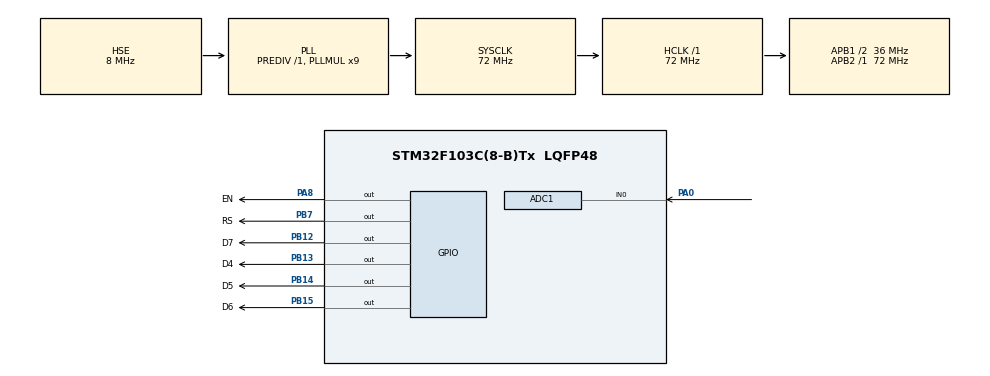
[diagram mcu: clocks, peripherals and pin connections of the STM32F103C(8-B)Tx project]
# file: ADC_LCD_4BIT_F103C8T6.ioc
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ADC1.Channel-0\#ChannelRegularConversion=ADC_CHANNEL_0
ADC1.NbrOfConversionFlag=1
ADC1.Rank-0\#ChannelRegularConversion=1
ADC1.SamplingTime-0\#ChannelRegularConversion=ADC_SAMPLETIME_1CYCLE_5
ADC1.master=1
Mcu.Family=STM32F1
Mcu.Name=STM32F103C(8-B)Tx
Mcu.Package=LQFP48
NVIC.PriorityGroup=NVIC_PRIORITYGROUP_4
PA0-WKUP.Signal=ADCx_IN0
PA13.Mode=Serial_Wire
PA13.Signal=SYS_JTMS-SWDIO
PA14.Mode=Serial_Wire
PA14.Signal=SYS_JTCK-SWCLK
PA8.GPIO_Label=EN
PA8.Signal=GPIO_Output
PB12.GPIO_Label=D7
PB12.Signal=GPIO_Output
PB13.GPIO_Label=D4
PB13.Signal=GPIO_Output
PB14.GPIO_Label=D5
PB14.Signal=GPIO_Output
PB15.GPIO_Label=D6
PB15.Signal=GPIO_Output
PB7.GPIO_Label=RS
PB7.Signal=GPIO_Output
PD0-OSC_IN.Mode=HSE-External-Oscillator
PD0-OSC_IN.Signal=RCC_OSC_IN
PD1-OSC_OUT.Mode=HSE-External-Oscillator
PD1-OSC_OUT.Signal=RCC_OSC_OUT
ProjectManager.HeapSize=0x200
ProjectManager.StackSize=0x400
ProjectManager.TargetToolchain=STM32CubeIDE
RCC.ADCPresc=RCC_ADCPCLK2_DIV6
RCC.AHBFreq_Value=72000000
RCC.APB1CLKDivider=RCC_HCLK_DIV2
RCC.APB1Freq_Value=36000000
RCC.APB1TimFreq_Value=72000000
RCC.APB2Freq_Value=72000000
RCC.APB2TimFreq_Value=72000000
RCC.HCLKFreq_Value=72000000
RCC.PLLMUL=RCC_PLL_MUL9
RCC.PLLSourceVirtual=RCC_PLLSOURCE_HSE
RCC.SYSCLKFreq_VALUE=72000000
RCC.SYSCLKSource=RCC_SYSCLKSOURCE_PLLCLK
RCC.USBFreq_Value=72000000
SH.ADCx_IN0.0=ADC1_IN0,IN0
TIM1.Prescaler=72-1
VP_TIM1_VS_ClockSourceINT.Mode=Internal
board=custom

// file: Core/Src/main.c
/* USER CODE BEGIN Header */
/**
  ******************************************************************************
  * @file           : main.c
  * @brief          : Main program body
  ******************************************************************************
  * @attention
  *
  * Copyright (c) 2026 STMicroelectronics.
  * All rights reserved.
  *
  * This software is licensed under terms that can be found in the LICENSE file
  * in the root directory of this software component.
  * If no LICENSE file comes with this software, it is provided AS-IS.
  *
  ******************************************************************************
  */
/* USER CODE END Header */
#include "main.h"

/* USER CODE BEGIN Includes */

#include "stdio.h"

/* USER CODE END Includes */

ADC_HandleTypeDef hadc1;

TIM_HandleTypeDef htim1;

/* USER CODE BEGIN PV */

#define timer htim1
uint16_t adc_value=0;
char arr1[10];
int i=0;

/* USER CODE END PV */

void SystemClock_Config(void);
static void MX_GPIO_Init(void);
static void MX_ADC1_Init(void);
static void MX_TIM1_Init(void);
/* USER CODE BEGIN PFP */

void lcd_init (void);   // initialize lcd
void lcd_send_cmd (char cmd);  // send command to the lcd
void lcd_send_data (char data);  // send data to the lcd
void lcd_send_string (char *str);  // send string to the lcd
void lcd_put_cur(int row, int col);  // put cursor at the entered position row (0 or 1), col (0-15);
void lcd_clear (void);

/* USER CODE END PFP */

int main(void)
{

  /* MCU Configuration--------------------------------------------------------*/

  /* Reset of all peripherals, Initializes the Flash interface and the Systick. */
  HAL_Init();

  /* Configure the system clock */
  SystemClock_Config();

  /* Initialize all configured peripherals */
  MX_GPIO_Init();
  MX_ADC1_Init();
  MX_TIM1_Init();
  /* USER CODE BEGIN 2 */

  HAL_TIM_Base_Start(&htim1);
  lcd_init ();
  lcd_clear();

  /* USER CODE END 2 */

  /* Infinite loop */
  /* USER CODE BEGIN WHILE */
  while (1)
  {
//	  lcd_put_cur(0, 0);
//	  lcd_send_string("suhas");
	  	     HAL_ADC_Start(&hadc1);

	  		  if(HAL_ADC_PollForConversion(&hadc1, HAL_MAX_DELAY)==HAL_OK)
	  		  {
	  			  adc_value = HAL_ADC_GetValue(&hadc1);
	  			  /*sprintf(adcbuffer8,"adc_value = %lu",adc_value);
	  			  HAL_UART_Transmit(&huart2, (uint8_t *)adcbuffer8, strlen(adcbuffer8) , HAL_MAX_DELAY);
	  			  HAL_UART_Transmit(&huart2, (uint8_t *)newline, strlen(newline) , HAL_MAX_DELAY);*/
	  		  }

	  		  HAL_ADC_Stop(&hadc1);

	  		  sprintf(arr1,"%04d",adc_value);
	  		  lcd_put_cur(0,0);
	  		  lcd_send_string("Adc_value--");
	  		  lcd_put_cur(1,0);
	  		  lcd_send_string(arr1);

    /* USER CODE END WHILE */

  }
}

void SystemClock_Config(void)
{
  RCC_OscInitTypeDef RCC_OscInitStruct = {0};
  RCC_ClkInitTypeDef RCC_ClkInitStruct = {0};
  RCC_PeriphCLKInitTypeDef PeriphClkInit = {0};

  /** Initializes the RCC Oscillators according to the specified parameters
  * in the RCC_OscInitTypeDef structure.
  */
  RCC_OscInitStruct.OscillatorType = RCC_OSCILLATORTYPE_HSE;
  RCC_OscInitStruct.HSEState = RCC_HSE_ON;
  RCC_OscInitStruct.HSEPredivValue = RCC_HSE_PREDIV_DIV1;
  RCC_OscInitStruct.HSIState = RCC_HSI_ON;
  RCC_OscInitStruct.PLL.PLLState = RCC_PLL_ON;
  RCC_OscInitStruct.PLL.PLLSource = RCC_PLLSOURCE_HSE;
  RCC_OscInitStruct.PLL.PLLMUL = RCC_PLL_MUL9;
  if (HAL_RCC_OscConfig(&RCC_OscInitStruct) != HAL_OK)
  {
    Error_Handler();
  }

  /** Initializes the CPU, AHB and APB buses clocks
  */
  RCC_ClkInitStruct.ClockType = RCC_CLOCKTYPE_HCLK|RCC_CLOCKTYPE_SYSCLK
                              |RCC_CLOCKTYPE_PCLK1|RCC_CLOCKTYPE_PCLK2;
  RCC_ClkInitStruct.SYSCLKSource = RCC_SYSCLKSOURCE_PLLCLK;
  RCC_ClkInitStruct.AHBCLKDivider = RCC_SYSCLK_DIV1;
  RCC_ClkInitStruct.APB1CLKDivider = RCC_HCLK_DIV2;
  RCC_ClkInitStruct.APB2CLKDivider = RCC_HCLK_DIV1;

  if (HAL_RCC_ClockConfig(&RCC_ClkInitStruct, FLASH_LATENCY_2) != HAL_OK)
  {
    Error_Handler();
  }
  PeriphClkInit.PeriphClockSelection = RCC_PERIPHCLK_ADC;
  PeriphClkInit.AdcClockSelection = RCC_ADCPCLK2_DIV6;
  if (HAL_RCCEx_PeriphCLKConfig(&PeriphClkInit) != HAL_OK)
  {
    Error_Handler();
  }
}

static void MX_ADC1_Init(void)
{

  ADC_ChannelConfTypeDef sConfig = {0};

  /** Common config
  */
  hadc1.Instance = ADC1;
  hadc1.Init.ScanConvMode = ADC_SCAN_DISABLE;
  hadc1.Init.ContinuousConvMode = DISABLE;
  hadc1.Init.DiscontinuousConvMode = DISABLE;
  hadc1.Init.ExternalTrigConv = ADC_SOFTWARE_START;
  hadc1.Init.DataAlign = ADC_DATAALIGN_RIGHT;
  hadc1.Init.NbrOfConversion = 1;
  if (HAL_ADC_Init(&hadc1) != HAL_OK)
  {
    Error_Handler();
  }

  /** Configure Regular Channel
  */
  sConfig.Channel = ADC_CHANNEL_0;
  sConfig.Rank = ADC_REGULAR_RANK_1;
  sConfig.SamplingTime = ADC_SAMPLETIME_1CYCLE_5;
  if (HAL_ADC_ConfigChannel(&hadc1, &sConfig) != HAL_OK)
  {
    Error_Handler();
  }

}

static void MX_TIM1_Init(void)
{

  TIM_ClockConfigTypeDef sClockSourceConfig = {0};
  TIM_MasterConfigTypeDef sMasterConfig = {0};

  htim1.Instance = TIM1;
  htim1.Init.Prescaler = 72-1;
  htim1.Init.CounterMode = TIM_COUNTERMODE_UP;
  htim1.Init.Period = 65535;
  htim1.Init.ClockDivision = TIM_CLOCKDIVISION_DIV1;
  htim1.Init.RepetitionCounter = 0;
  htim1.Init.AutoReloadPreload = TIM_AUTORELOAD_PRELOAD_DISABLE;
  if (HAL_TIM_Base_Init(&htim1) != HAL_OK)
  {
    Error_Handler();
  }
  sClockSourceConfig.ClockSource = TIM_CLOCKSOURCE_INTERNAL;
  if (HAL_TIM_ConfigClockSource(&htim1, &sClockSourceConfig) != HAL_OK)
  {
    Error_Handler();
  }
  sMasterConfig.MasterOutputTrigger = TIM_TRGO_RESET;
  sMasterConfig.MasterSlaveMode = TIM_MASTERSLAVEMODE_DISABLE;
  if (HAL_TIMEx_MasterConfigSynchronization(&htim1, &sMasterConfig) != HAL_OK)
  {
    Error_Handler();
  }

}

static void MX_GPIO_Init(void)
{
  GPIO_InitTypeDef GPIO_InitStruct = {0};

  /* GPIO Ports Clock Enable */
  __HAL_RCC_GPIOD_CLK_ENABLE();
  __HAL_RCC_GPIOA_CLK_ENABLE();
  __HAL_RCC_GPIOB_CLK_ENABLE();

  /*Configure GPIO pin Output Level */
  HAL_GPIO_WritePin(GPIOB, D7_Pin|D4_Pin|D5_Pin|D6_Pin
                          |RS_Pin, GPIO_PIN_RESET);

  /*Configure GPIO pin Output Level */
  HAL_GPIO_WritePin(EN_GPIO_Port, EN_Pin, GPIO_PIN_RESET);

  /*Configure GPIO pins : D7_Pin D4_Pin D5_Pin D6_Pin
                           RS_Pin */
  GPIO_InitStruct.Pin = D7_Pin|D4_Pin|D5_Pin|D6_Pin
                          |RS_Pin;
  GPIO_InitStruct.Mode = GPIO_MODE_OUTPUT_PP;
  GPIO_InitStruct.Pull = GPIO_NOPULL;
  GPIO_InitStruct.Speed = GPIO_SPEED_FREQ_LOW;
  HAL_GPIO_Init(GPIOB, &GPIO_InitStruct);

  /*Configure GPIO pin : EN_Pin */
  GPIO_InitStruct.Pin = EN_Pin;
  GPIO_InitStruct.Mode = GPIO_MODE_OUTPUT_PP;
  GPIO_InitStruct.Pull = GPIO_NOPULL;
  GPIO_InitStruct.Speed = GPIO_SPEED_FREQ_LOW;
  HAL_GPIO_Init(EN_GPIO_Port, &GPIO_InitStruct);

}

/* USER CODE BEGIN 4 */

void delay (uint16_t us)
{
	__HAL_TIM_SET_COUNTER(&timer, 0);
	while (__HAL_TIM_GET_COUNTER(&timer) < us);
}

void send_to_lcd (char data, int rs)
{
	HAL_GPIO_WritePin(RS_GPIO_Port, RS_Pin, rs);  // rs = 1 for data, rs=0 for command

	/* write the data to the respective pin */
	HAL_GPIO_WritePin(D7_GPIO_Port, D7_Pin, ((data>>3)&0x01));
	HAL_GPIO_WritePin(D6_GPIO_Port, D6_Pin, ((data>>2)&0x01));
	HAL_GPIO_WritePin(D5_GPIO_Port, D5_Pin, ((data>>1)&0x01));
	HAL_GPIO_WritePin(D4_GPIO_Port, D4_Pin, ((data>>0)&0x01));

	/* Toggle EN PIN to send the data
	 * if the HCLK > 100 MHz, use the  20 us delay
	 * if the LCD still doesn't work, increase the delay to 50, 80 or 100..
	 */
	HAL_GPIO_WritePin(EN_GPIO_Port, EN_Pin, 1);
	delay (20);
	HAL_GPIO_WritePin(EN_GPIO_Port, EN_Pin, 0);
	delay (20);
}

void lcd_send_cmd (char cmd)//used to send command from um to LCD
{
    char datatosend;//variable

    /* send upper nibble first */
    datatosend = ((cmd>>4)&0x0f);
    send_to_lcd(datatosend,0);//sending command first nibble coz rs is zero

    /* send Lower Nibble */
    datatosend = ((cmd)&0x0f);
	send_to_lcd(datatosend, 0);//sending command lower nibble coz rs is zero
}

void lcd_send_data (char data)// used to send data from um to LCD
{
	char datatosend;//variable

	/* send higher nibble */
	datatosend = ((data>>4)&0x0f);
	send_to_lcd(datatosend, 1);//sending data first nibble coz rs is one

	/* send Lower nibble */
	datatosend = ((data)&0x0f);
	send_to_lcd(datatosend, 1);//sending data lower nibble coz rs is one
}

void lcd_clear (void)
{
	lcd_send_cmd(0x01);// command used to clear the lcd
	HAL_Delay(2);
}

void lcd_put_cur(int row, int col)// arguments row and col,coz i want the location
{
    switch (row)
    {
        case 0:
            col |= 0x80;//want to first row
            break;
        case 1:
            col |= 0xC0;//want to second row
            break;
    }

    lcd_send_cmd (col);
}

void lcd_init (void)
{

	HAL_Delay(50);// stabilization of lcd
	lcd_send_cmd (0x30);//command to start lcd in 8 bit mode ,this command we
	HAL_Delay(5);
	lcd_send_cmd (0x30);
	HAL_Delay(1);
	lcd_send_cmd (0x30);
	HAL_Delay(10);
	lcd_send_cmd (0x20);
	HAL_Delay(10);

	lcd_send_cmd (0x28);//to operate in 4 bit
	HAL_Delay(1);
	lcd_send_cmd (0x08);//display off/cursoroff
	HAL_Delay(1);
	lcd_send_cmd (0x01);//clear the display
	HAL_Delay(1);
	HAL_Delay(1);
	lcd_send_cmd (0x06);
	HAL_Delay(1);
	lcd_send_cmd (0x0C);
}

void lcd_send_string (char *str)
{
	while (*str) lcd_send_data (*str++);
}

/* USER CODE END 4 */

void Error_Handler(void)
{
  __disable_irq();
  while (1)
  {
  }
}
